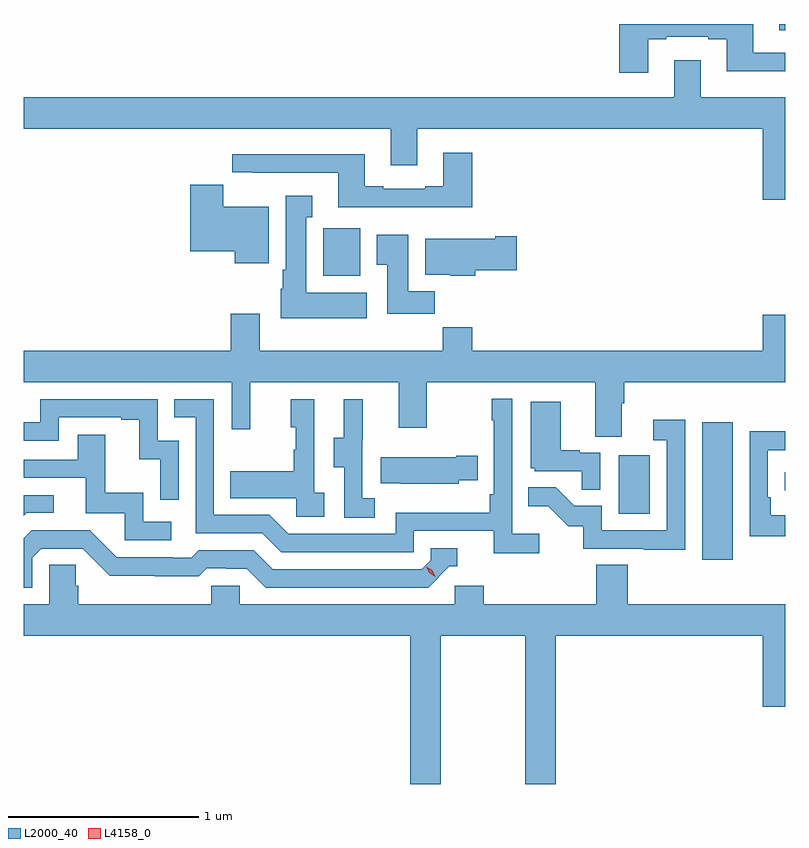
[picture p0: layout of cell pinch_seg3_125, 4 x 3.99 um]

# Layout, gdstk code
import gdstk
lib = gdstk.Library(unit=1e-6, precision=1e-09)
def R(c, l, rs):  # rectangles x0, y0, x1, y1
    for r in rs: c.add(gdstk.rectangle(r[:2], r[2:], *l))
def P(c, l, *ps):  # polygons
    for p in ps: c.add(gdstk.Polygon(p, *l))
L2000_40 = (2000, 40)
L4158_0 = (4158, 0)

pinch_seg3_125 = lib.new_cell('pinch_seg3_125')
R(pinch_seg3_125, L2000_40, [(1135.718,711.972,1135.879,712.693), (1135.28,712.212,1135.444,712.519), (1136.151,712.335,1136.155,712.431), (1133.727,713.462,1133.923,713.712), (1136.123,714.753,1136.155,714.785)])
P(pinch_seg3_125, L2000_40, [(1135.435,714.705),(1135.531,714.705),(1135.531,714.717),(1135.751,714.717),(1135.751,714.705),(1135.847,714.705),(1135.847,714.536),(1136.155,714.536),(1136.155,714.633),(1135.987,714.633),(1135.987,714.785),(1135.283,714.785),(1135.283,714.528),(1135.435,714.528)],
  [(1136.155,714.4),(1135.711,714.4),(1135.711,714.595),(1135.571,714.595),(1135.571,714.4),(1132.155,714.4),(1132.155,714.236),(1134.083,714.236),(1134.083,714.042),(1134.223,714.042),(1134.223,714.236),(1136.036,714.236),(1136.036,713.862),(1136.155,713.862)],
  [(1134.512,714.109),(1134.359,714.109),(1134.359,713.932),(1134.263,713.932),(1134.263,713.919),(1134.043,713.919),(1134.043,713.932),(1133.947,713.932),(1133.947,714.1),(1133.25,714.1),(1133.25,714.005),(1133.359,714.005),(1133.359,714.003),(1133.807,714.003),(1133.807,713.822),(1134.512,713.822)],
  [(1133.443,713.824),(1133.203,713.824),(1133.203,713.94),(1133.03,713.94),(1133.03,713.591),(1133.264,713.591),(1133.264,713.528),(1133.443,713.528)],
  [(1133.956,713.374),(1133.638,713.374),(1133.638,713.771),(1133.671,713.771),(1133.671,713.884),(1133.531,713.884),(1133.531,713.494),(1133.516,713.494),(1133.516,713.394),(1133.504,713.394),(1133.504,713.24),(1133.956,713.24)],
  [(1134.314,713.38),(1134.175,713.38),(1134.175,713.677),(1134.008,713.677),(1134.008,713.521),(1134.065,713.521),(1134.065,713.262),(1134.314,713.262)],
  [(1134.527,713.491),(1134.745,713.491),(1134.745,713.669),(1134.632,713.669),(1134.632,713.656),(1134.263,713.656),(1134.263,713.468),(1134.396,713.468),(1134.396,713.462),(1134.527,713.462)],
  [(1135.297,712.792),(1135.31,712.792),(1135.31,712.904),(1136.155,712.904),(1136.155,713.257),(1136.036,713.257),(1136.036,713.068),(1134.512,713.068),(1134.512,713.192),(1134.355,713.192),(1134.355,713.068),(1133.395,713.068),(1133.395,713.263),(1133.243,713.263),(1133.243,713.068),(1132.155,713.068),(1132.155,712.904),(1133.247,712.904),(1133.247,712.656),(1133.345,712.656),(1133.345,712.904),(1134.125,712.904),(1134.125,712.665),(1134.273,712.665),(1134.273,712.904),(1135.157,712.904),(1135.157,712.618),(1135.297,712.618)],
  [(1134.862,712.108),(1134.72,712.108),(1134.72,712.816),(1134.612,712.816),(1134.612,712.703),(1134.624,712.703),(1134.624,712.315),(1134.604,712.315),(1134.604,712.219),(1134.108,712.219),(1134.108,712.107),(1133.544,712.107),(1133.445,712.206),(1133.154,712.206),(1133.154,712.815),(1132.945,712.815),(1132.945,712.719),(1133.058,712.719),(1133.058,712.11),(1133.408,712.11),(1133.507,712.011),(1134.204,712.011),(1134.204,712.122),(1134.623,712.122),(1134.623,712.006),(1134.862,712.006)],
  [(1132.968,712.596),(1132.86,712.596),(1132.86,712.815),(1132.242,712.815),(1132.242,712.692),(1132.155,712.692),(1132.155,712.596),(1132.338,712.596),(1132.338,712.719),(1132.667,712.719),(1132.667,712.707),(1132.763,712.707),(1132.763,712.499),(1132.872,712.499),(1132.872,712.287),(1132.968,712.287)],
  [(1133.734,712.322),(1133.682,712.322),(1133.682,712.813),(1133.558,712.813),(1133.558,712.668),(1133.584,712.668),(1133.584,712.55),(1133.574,712.55),(1133.574,712.435),(1133.239,712.435),(1133.239,712.295),(1133.586,712.295),(1133.586,712.197),(1133.734,712.197)],
  [(1133.998,712.295),(1133.934,712.295),(1133.934,712.599),(1133.936,712.599),(1133.936,712.813),(1133.837,712.813),(1133.837,712.611),(1133.783,712.611),(1133.783,712.456),(1133.838,712.456),(1133.838,712.192),(1133.998,712.192)],
  [(1135.182,712.533),(1135.076,712.533),(1135.076,712.546),(1134.976,712.546),(1134.976,712.801),(1134.818,712.801),(1134.818,712.452),(1134.84,712.452),(1134.84,712.437),(1135.087,712.437),(1135.087,712.339),(1135.182,712.339)],
  [(1135.629,712.705),(1135.461,712.705),(1135.461,712.599),(1135.533,712.599),(1135.533,712.125),(1135.191,712.125),(1135.191,712.254),(1135.047,712.254),(1134.949,712.352),(1134.805,712.352),(1134.805,712.253),(1134.909,712.253),(1135.016,712.146),(1135.093,712.146),(1135.093,712.029),(1135.411,712.029),(1135.411,712.024),(1135.629,712.024)],
  [(1136.155,712.204),(1136.078,712.204),(1136.078,712.3),(1136.064,712.3),(1136.064,712.545),(1136.155,712.545),(1136.155,712.646),(1135.968,712.646),(1135.968,712.095),(1136.155,712.095)],
  [(1132.93,712.17),(1132.782,712.17),(1132.782,712.324),(1132.583,712.324),(1132.583,712.627),(1132.439,712.627),(1132.439,712.497),(1132.155,712.497),(1132.155,712.401),(1132.481,712.401),(1132.481,712.215),(1132.686,712.215),(1132.686,712.074),(1132.93,712.074)],
  [(1134.441,712.388),(1134.539,712.388),(1134.539,712.518),(1134.428,712.518),(1134.428,712.51),(1134.031,712.51),(1134.031,712.373),(1134.139,712.373),(1134.139,712.37),(1134.441,712.37)],
  [(1132.17,712.218),(1132.312,712.218),(1132.312,712.311),(1132.155,712.311),(1132.155,712.203)],
  [(1132.2,711.981),(1132.248,712.029),(1132.464,712.029),(1132.606,711.887),(1132.842,711.887),(1132.842,711.885),(1133.075,711.885),(1133.117,711.927),(1133.22,711.927),(1133.22,711.924),(1133.327,711.924),(1133.426,711.825),(1134.279,711.825),(1134.39,711.936),(1134.433,711.936),(1134.433,712.032),(1134.294,712.032),(1134.294,711.969),(1134.246,711.921),(1133.463,711.921),(1133.364,712.02),(1133.075,712.02),(1133.036,711.981),(1132.937,711.981),(1132.937,711.984),(1132.644,711.984),(1132.503,712.125),(1132.197,712.125),(1132.155,712.083),(1132.155,711.825),(1132.2,711.825)],
  [(1134.345,711.572),(1134.79,711.572),(1134.79,710.793),(1134.95,710.793),(1134.95,711.572),(1136.036,711.572),(1136.036,711.198),(1136.155,711.198),(1136.155,711.736),(1135.328,711.736),(1135.328,711.944),(1135.163,711.944),(1135.163,711.736),(1134.572,711.736),(1134.572,711.834),(1134.42,711.834),(1134.42,711.736),(1133.289,711.736),(1133.289,711.834),(1133.139,711.834),(1133.139,711.736),(1132.442,711.736),(1132.442,711.834),(1132.427,711.834),(1132.427,711.944),(1132.29,711.944),(1132.29,711.736),(1132.155,711.736),(1132.155,711.572),(1134.185,711.572),(1134.185,710.793),(1134.345,710.793)])
P(pinch_seg3_125, L4158_0, [(1134.316,711.882),(1134.285,711.902),(1134.27,711.934),(1134.27,711.934),(1134.27,711.934),(1134.3,711.915),(1134.316,711.882),(1134.316,711.882)])

lib.write_gds('pinch_seg3_125.gds')
